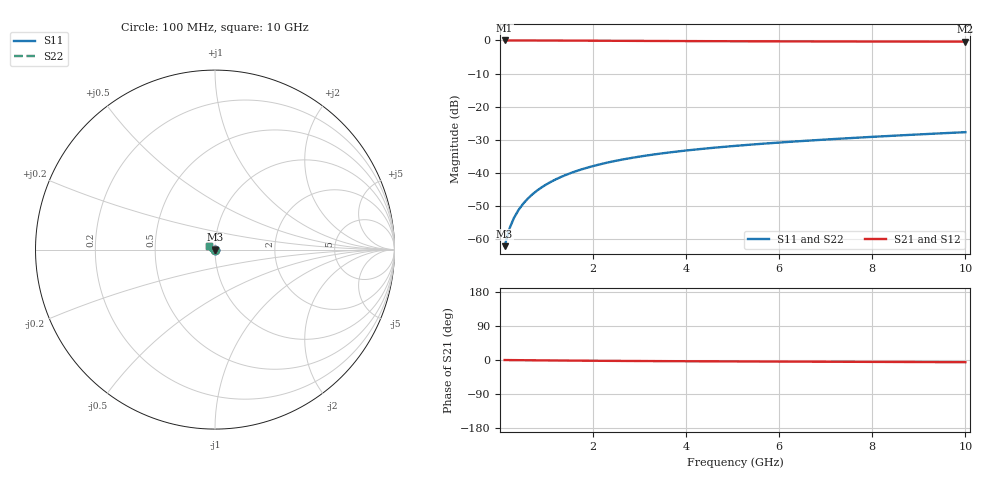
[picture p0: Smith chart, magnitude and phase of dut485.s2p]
! Touchstone file exported from HFSS 2024.1.0
!  File:  C:/UserFiles/LocalFiles/RDL_TSV_Batchsim/temp_TSV1_485_1779699927.aedt
!  Generated:  05:13:43 PM May 25, 2026
!  Design:  TSV1
!  Project:  temp_TSV1_485_1779699927
!  Setup:  Setup1
!  Solution:  Sweep
! Variables:
!  dtsv = 6.09um
!  hbump = 3um
!  htsv = 87.26um
!  lrdl = 252.1521522um
!  p = 40
!  p1 = 49.14um
!  t = 500um
!  trdl = 3um
!  wrdl = 24.89489489um
# GHz S MA R 50.000000
! Terminal data exported
! Port[1] = TSV22_T1
! Port[2] = TSV22_T2
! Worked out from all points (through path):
!   100 points, 100 MHz to 10 GHz, reference 50 ohm
!   highest |S21| = 0.00 dB at 100 MHz (marker M1); lowest = -0.4 dB at 10 GHz (marker M2)
!   lowest |S11| = -62.0 dB at 100 MHz (marker M3), VSWR 1.00, Z = 50 - j0.0694 ohm
!   |S11| at or under -10 dB: start of sweep to end of sweep
!   |S22| runs from -62.0 to -27.7 dB; largest |S21 - S12| = 4.2e-15
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0.1  0.0007906 -61.3  0.9996 -0.1  0.9996 -0.1  0.0007906 -61.3
! Gamma 0 0 0 0
! Port Impedance 50 0 50 0
0.2  0.001434 -77.7  0.9995 -0.2  0.9995 -0.2  0.001434 -77.7
0.3  0.002106 -85.2  0.9993 -0.3  0.9993 -0.3  0.002106 -85.2
0.4  0.002783 -90.1  0.9991 -0.4  0.9991 -0.4  0.002783 -90.1
0.5  0.003459 -93.9  0.9989 -0.6  0.9989 -0.6  0.003459 -93.9
0.6  0.004133 -97.1  0.9986 -0.7  0.9986 -0.7  0.004133 -97.1
0.7  0.004802 -100.0  0.9983 -0.8  0.9983 -0.8  0.004802 -100.0
0.8  0.005465 -102.7  0.9979 -0.9  0.9979 -0.9  0.005465 -102.7
0.9  0.006122 -105.2  0.9975 -1.0  0.9975 -1.0  0.006122 -105.2
1.1  0.007412 -110.0  0.9966 -1.2  0.9966 -1.2  0.007412 -110.0
1.4  0.009282 -116.6  0.9949 -1.5  0.9949 -1.5  0.009282 -116.6
1.6  0.01048 -120.8  0.9937 -1.6  0.9937 -1.6  0.01048 -120.8
1.8  0.01164 -124.8  0.9924 -1.8  0.9924 -1.8  0.01164 -124.8
2.1  0.01329 -130.6  0.9904 -2.1  0.9904 -2.1  0.01329 -130.6
2.5  0.01536 -137.7  0.9876 -2.4  0.9876 -2.4  0.01536 -137.7
2.9  0.01727 -144.4  0.9848 -2.6  0.9848 -2.6  0.01727 -144.4
3.4  0.01947 -152.1  0.9815 -2.9  0.9815 -2.9  0.01947 -152.1
4.2  0.02265 -163.1  0.9768 -3.4  0.9768 -3.4  0.02265 -163.1
5.1  0.02587 -173.7  0.9723 -3.8  0.9723 -3.8  0.02587 -173.7
6.7  0.0311 170.9  0.9664 -4.4  0.9664 -4.4  0.0311 170.9
8.4  0.03641 158.3  0.9621 -5.1  0.9621 -5.1  0.03641 158.3
10  0.04138 148.8  0.9593 -5.8  0.9593 -5.8  0.04138 148.8
